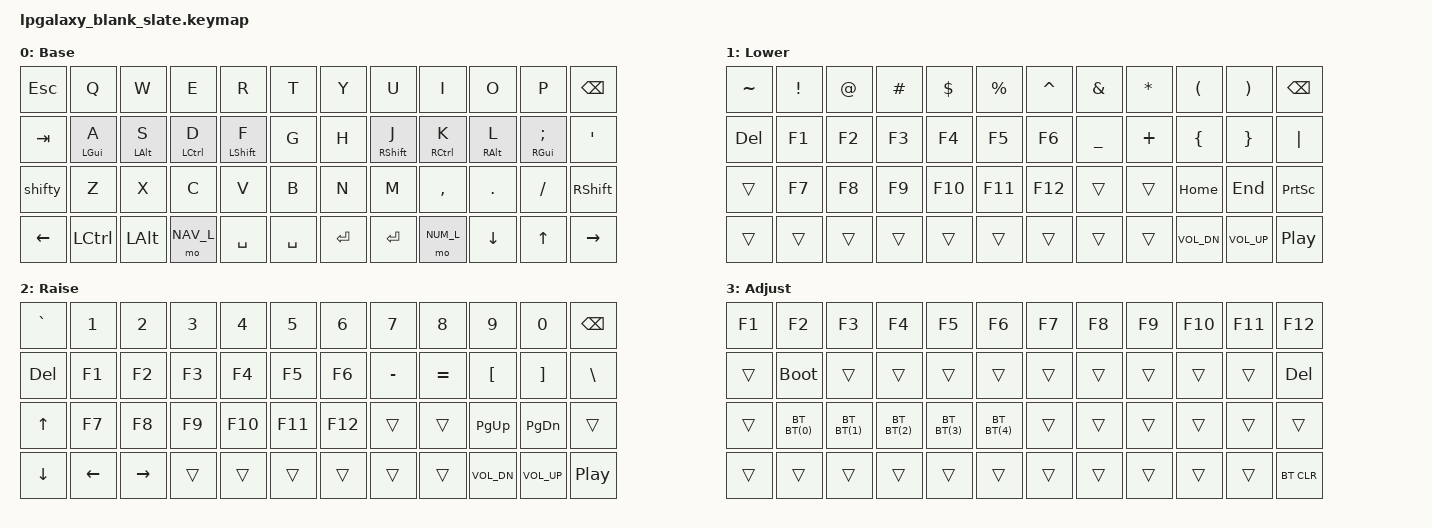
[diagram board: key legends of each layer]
/*
 * Copyright (c) 2022 Pete Johanson
 *
 * SPDX-License-Identifier: MIT
 */

#include <behaviors.dtsi>
#include <dt-bindings/zmk/keys.h>
#include <dt-bindings/zmk/bt.h>
#include <dt-bindings/zmk/outputs.h>

#define TBLE_ORTHO   1
// #define TBLE_MIT     1
// #define TBLE_DUAL_2U 1

#define NAV_L 1
#define NUM_L 2
#define SYM_L 3

// Using layer taps on thumbs, having quick tap as well helps w/ repeating space/backspace
&lt { quick_tap_ms = <200>; };

#define BT(n) BT_SEL n

// Key positions for 4x12 ortho:
// Row 0:  0  1  2  3  4  5  6  7  8  9 10 11
// Row 1: 12 13 14 15 16 17 18 19 20 21 22 23
// Row 2: 24 25 26 27 28 29 30 31 32 33 34 35
// Row 3: 36 37 38 39 40 41 42 43 44 45 46 47

#define LEFT_KEYS  0 1 2 3 4 5 12 13 14 15 16 17 24 25 26 27 28 29 36 37 38 39 40 41
#define RIGHT_KEYS 6 7 8 9 10 11 18 19 20 21 22 23 30 31 32 33 34 35 42 43 44 45 46 47

/ {
    chosen {
       zmk,physical-layout = &layout_ortho_4x12_all1u;
    };

    cond_layers {
        compatible = "zmk,conditional-layers";
        tri {
            if-layers = <NAV_L NUM_L>;
            then-layer = <SYM_L>;
        };
    };

    behaviors {
        hml: home_row_mod_left {
            compatible = "zmk,behavior-hold-tap";
            label = "HOME_ROW_MOD_LEFT";
            #binding-cells = <2>;
            flavor = "balanced";
            tapping-term-ms = <280>;
            quick-tap-ms = <175>;
            require-prior-idle-ms = <150>;
            bindings = <&kp>, <&kp>;
            hold-trigger-key-positions = <RIGHT_KEYS>;
            hold-trigger-on-release;
        };

        hmr: home_row_mod_right {
            compatible = "zmk,behavior-hold-tap";
            label = "HOME_ROW_MOD_RIGHT";
            #binding-cells = <2>;
            flavor = "balanced";
            tapping-term-ms = <280>;
            quick-tap-ms = <175>;
            require-prior-idle-ms = <150>;
            bindings = <&kp>, <&kp>;
            hold-trigger-key-positions = <LEFT_KEYS>;
            hold-trigger-on-release;
        };
    };

    tap_dances {
    	shifty: shift_caps {
		compatible = "zmk,behavior-tap-dance";
		label = "TD_SHIFTY";
		#binding-cells = <0>;
		tapping-term-ms = <200>;
		bindings = <&kp LSHFT>, <&kp CAPS>;
	};
    };

    keymap {
        compatible = "zmk,keymap";

        base_layer {
            label = "Base";
            bindings = <
 &kp ESC       &kp Q            &kp W            &kp E             &kp R            &kp T          &kp Y            &kp U            &kp I             &kp O            &kp P              &kp BKSP
 &kp TAB       &hml LGUI A      &hml LALT S      &hml LCTRL D      &hml LSHFT F     &kp G          &kp H            &hmr RSHFT J     &hmr RCTRL K      &hmr RALT L      &hmr RGUI SEMI     &kp QUOT
 &shifty       &kp Z            &kp X            &kp C             &kp V            &kp B          &kp N            &kp M            &kp COMMA         &kp DOT          &kp FSLH           &kp RSHFT
 &kp LEFT      &kp LCTRL        &kp LALT         &mo NAV_L         &kp SPACE        &kp SPACE      &kp RET          &kp RET          &mo NUM_L         &kp DOWN         &kp UP             &kp RIGHT
            >;
        };

        nav_layer {
            label = "Lower";
            bindings = <
 &kp TILDE  &kp EXCL   &kp AT     &kp HASH    &kp DLLR    &kp PRCNT   &kp CARET  &kp AMPS    &kp STAR     &kp LPAR     &kp RPAR     &kp BKSP
 &kp DEL    &kp F1     &kp F2     &kp F3      &kp F4      &kp F5      &kp F6     &kp UNDER   &kp PLUS     &kp LBRC     &kp RBRC     &kp PIPE
 &trans     &kp F7     &kp F8     &kp F9      &kp F10     &kp F11     &kp F12    &trans      &trans       &kp HOME     &kp END      &kp PSCRN
 &trans     &trans     &trans     &trans      &trans      &trans      &trans     &trans      &trans       &kp C_VOL_DN &kp C_VOL_UP &kp C_PP
            >;
        };

        num_layer {
            label = "Raise";
            bindings = <
 &kp GRAVE  &kp N1     &kp N2     &kp N3      &kp N4      &kp N5      &kp N6     &kp N7      &kp N8       &kp N9       &kp N0       &kp BKSP
 &kp DEL    &kp F1     &kp F2     &kp F3      &kp F4      &kp F5      &kp F6     &kp MINUS   &kp EQUAL    &kp LBKT     &kp RBKT     &kp BSLH
 &kp UP     &kp F7     &kp F8     &kp F9      &kp F10     &kp F11     &kp F12    &trans      &trans       &kp PG_UP    &kp PG_DN    &trans
 &kp DOWN   &kp LEFT   &kp RIGHT  &trans      &trans      &trans      &trans     &trans      &trans       &kp C_VOL_DN &kp C_VOL_UP &kp C_PP
            >;
        };

        sym_layer {
            label = "Adjust";
            bindings = <
 &kp F1     &kp F2      &kp F3     &kp F4      &kp F5      &kp F6      &kp F7     &kp F8      &kp F9       &kp F10      &kp F11      &kp F12
 &trans     &bootloader &trans     &trans      &trans      &trans      &trans     &trans      &trans       &trans       &trans       &kp DEL
 &trans     &bt BT(0)   &bt BT(1)  &bt BT(2)   &bt BT(3)   &bt BT(4)   &trans     &trans      &trans       &trans       &trans       &trans
 &trans     &trans      &trans     &trans      &trans      &trans      &trans     &trans      &trans       &trans       &trans       &bt BT_CLR
            >;
        };
    };
};
